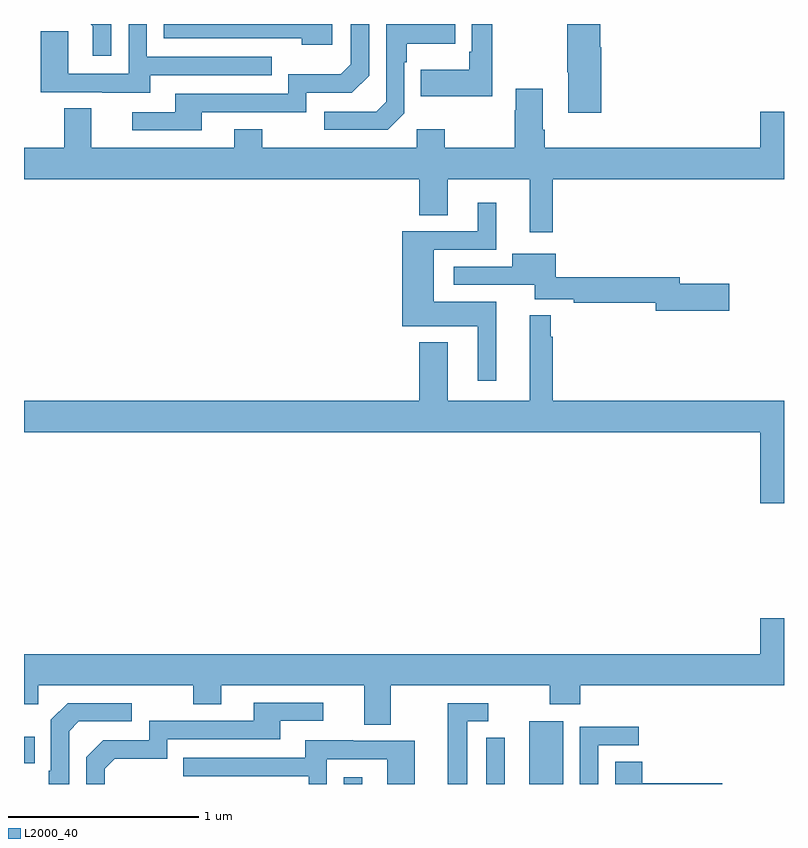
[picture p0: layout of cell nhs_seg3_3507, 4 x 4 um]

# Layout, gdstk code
import gdstk
lib = gdstk.Library(unit=1e-6, precision=1e-09)
def R(c, l, rs):  # rectangles x0, y0, x1, y1
    for r in rs: c.add(gdstk.rectangle(r[:2], r[2:], *l))
def P(c, l, *ps):  # polygons
    for p in ps: c.add(gdstk.Polygon(p, *l))
L2000_40 = (2000, 40)

nhs_seg3_3507 = lib.new_cell('nhs_seg3_3507')
R(nhs_seg3_3507, L2000_40, [(294.684,696.4,294.781,696.436), (295.658,696.4,295.837,696.73), (293,696.509,293.057,696.649)])
P(nhs_seg3_3507, L2000_40, [(295.002,699.93),(295.002,700.199),(295.015,700.199),(295.015,700.295),(295.271,700.295),(295.271,700.4),(294.906,700.4),(294.906,699.99),(294.855,699.939),(294.579,699.939),(294.579,699.843),(294.915,699.843)],
  [(294.622,700.4),(293.736,700.4),(293.736,700.326),(294.461,700.326),(294.461,700.292),(294.622,700.292)],
  [(295.465,700.4),(295.356,700.4),(295.356,700.255),(295.344,700.255),(295.344,700.159),(295.087,700.159),(295.087,700.019),(295.465,700.019)],
  [(293.935,699.936),(294.486,699.936),(294.486,700.038),(294.726,700.038),(294.816,700.128),(294.816,700.4),(294.72,700.4),(294.72,700.188),(294.667,700.135),(294.39,700.135),(294.39,700.032),(293.795,700.032),(293.795,699.936),(293.571,699.936),(293.571,699.84),(293.935,699.84)],
  [(296.038,700.278),(296.033,700.278),(296.033,700.4),(295.858,700.4),(295.858,700.147),(295.865,700.147),(295.865,699.932),(296.038,699.932)],
  [(293.46,700.4),(293.352,700.4),(293.363,700.389),(293.363,700.233),(293.46,700.233)],
  [(293.665,700.131),(294.305,700.131),(294.305,700.227),(293.646,700.227),(293.646,700.4),(293.55,700.4),(293.55,700.137),(293.232,700.137),(293.232,700.361),(293.087,700.361),(293.087,700.041),(293.411,700.041),(293.411,700.037),(293.665,700.037)],
  [(295.215,699.847),(295.068,699.847),(295.068,699.748),(294.255,699.748),(294.255,699.847),(294.107,699.847),(294.107,699.748),(293.353,699.748),(293.353,699.956),(293.213,699.956),(293.213,699.748),(293,699.748),(293,699.584),(295.079,699.584),(295.079,699.394),(295.231,699.394),(295.231,699.584),(295.661,699.584),(295.661,699.303),(295.783,699.303),(295.783,699.584),(297,699.584),(297,699.937),(296.876,699.937),(296.876,699.748),(295.742,699.748),(295.742,699.844),(295.729,699.844),(295.729,700.06),(295.589,700.06),(295.589,699.947),(295.582,699.947),(295.582,699.748),(295.215,699.748)],
  [(295.486,698.938),(295.156,698.938),(295.156,699.213),(295.486,699.213),(295.486,699.46),(295.388,699.46),(295.388,699.309),(294.992,699.309),(294.992,698.81),(295.388,698.81),(295.388,698.523),(295.486,698.523)],
  [(296.713,699.032),(296.452,699.032),(296.452,699.068),(295.798,699.068),(295.798,699.19),(295.571,699.19),(295.571,699.123),(295.263,699.123),(295.263,699.027),(295.688,699.027),(295.688,698.952),(295.894,698.952),(295.894,698.932),(296.324,698.932),(296.324,698.89),(296.713,698.89)],
  [(297,698.416),(295.783,698.416),(295.783,698.753),(295.772,698.753),(295.772,698.866),(295.661,698.866),(295.661,698.416),(295.231,698.416),(295.231,698.725),(295.079,698.725),(295.079,698.416),(293,698.416),(293,698.252),(296.876,698.252),(296.876,697.878),(297,697.878)],
  [(294.931,696.92),(295.768,696.92),(295.768,696.821),(295.928,696.821),(295.928,696.92),(297,696.92),(297,697.273),(296.876,697.273),(296.876,697.084),(293,697.084),(293,696.821),(293.076,696.821),(293.076,696.92),(293.89,696.92),(293.89,696.821),(294.037,696.821),(294.037,696.92),(294.791,696.92),(294.791,696.712),(294.931,696.712)],
  [(293.424,696.48),(293.477,696.533),(293.754,696.533),(293.754,696.636),(294.349,696.636),(294.349,696.732),(294.574,696.732),(294.574,696.828),(294.209,696.828),(294.209,696.732),(293.658,696.732),(293.658,696.63),(293.418,696.63),(293.328,696.54),(293.328,696.4),(293.424,696.4)],
  [(293.238,696.678),(293.289,696.729),(293.566,696.729),(293.566,696.825),(293.229,696.825),(293.142,696.738),(293.142,696.469),(293.13,696.469),(293.13,696.4),(293.238,696.4)],
  [(295.333,696.729),(295.444,696.729),(295.444,696.825),(295.229,696.825),(295.229,696.4),(295.333,696.4)],
  [(296.022,696.603),(296.236,696.603),(296.236,696.702),(295.926,696.702),(295.926,696.4),(296.022,696.4)],
  [(295.529,696.49),(295.53,696.49),(295.53,696.644),(295.434,696.644),(295.434,696.4),(295.529,696.4)],
  [(294.594,696.531),(294.912,696.531),(294.912,696.4),(295.057,696.4),(295.057,696.627),(294.733,696.627),(294.733,696.631),(294.479,696.631),(294.479,696.537),(293.839,696.537),(293.839,696.441),(294.498,696.441),(294.498,696.4),(294.594,696.4)],
  [(296.674,696.404),(296.255,696.404),(296.255,696.518),(296.111,696.518),(296.111,696.4),(296.674,696.4)])

lib.write_gds('nhs_seg3_3507.gds')
